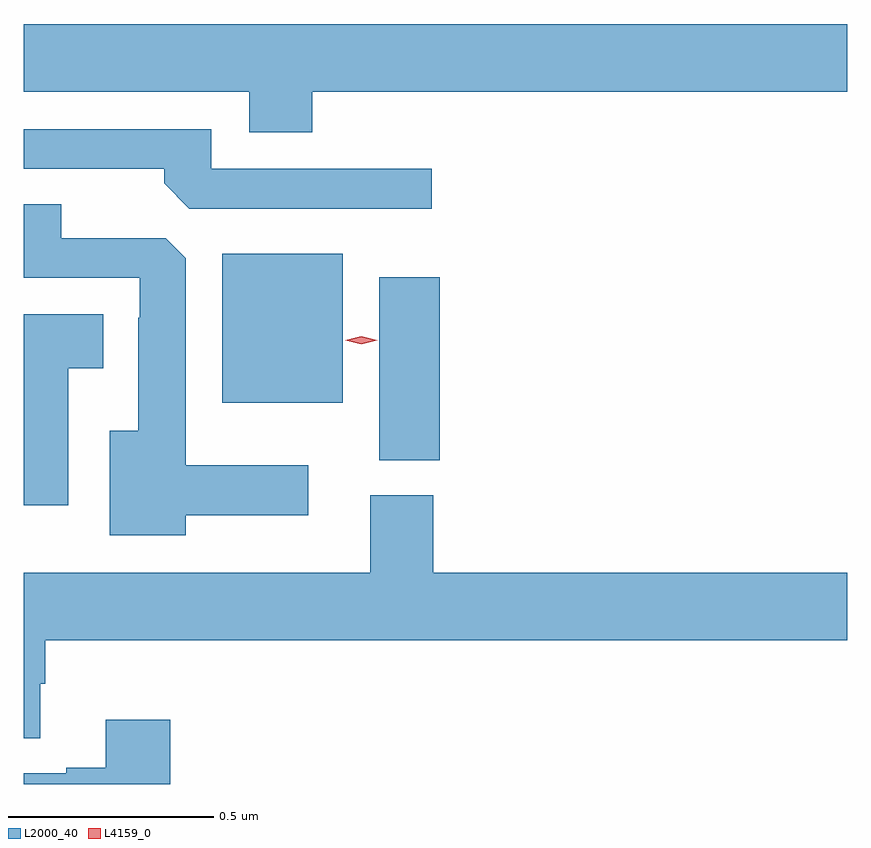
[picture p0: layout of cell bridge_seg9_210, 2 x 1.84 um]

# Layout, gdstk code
import gdstk
lib = gdstk.Library(unit=1e-6, precision=1e-09)
def R(c, l, rs):  # rectangles x0, y0, x1, y1
    for r in rs: c.add(gdstk.rectangle(r[:2], r[2:], *l))
def P(c, l, *ps):  # polygons
    for p in ps: c.add(gdstk.Polygon(p, *l))
L2000_40 = (2000, 40)
L4159_0 = (4159, 0)

bridge_seg9_210 = lib.new_cell('bridge_seg9_210')
R(bridge_seg9_210, L2000_40, [(163.352,1191.529,163.499,1191.973), (162.971,1191.668,163.264,1192.03)])
P(bridge_seg9_210, L2000_40, [(163.19,1192.424),(164.489,1192.424),(164.489,1192.588),(162.489,1192.588),(162.489,1192.424),(163.037,1192.424),(163.037,1192.325),(163.19,1192.325)],
  [(163.48,1192.236),(162.945,1192.236),(162.945,1192.332),(162.489,1192.332),(162.489,1192.236),(162.83,1192.236),(162.83,1192.202),(162.891,1192.14),(163.48,1192.14)],
  [(162.883,1191.395),(163.18,1191.395),(163.18,1191.517),(162.883,1191.517),(162.883,1192.019),(162.834,1192.068),(162.58,1192.068),(162.58,1192.151),(162.489,1192.151),(162.489,1191.972),(162.771,1191.972),(162.771,1191.875),(162.767,1191.875),(162.767,1191.601),(162.698,1191.601),(162.698,1191.347),(162.883,1191.347)],
  [(162.598,1191.752),(162.682,1191.752),(162.682,1191.883),(162.489,1191.883),(162.489,1191.42),(162.598,1191.42)],
  [(162.529,1190.986),(162.542,1190.986),(162.542,1191.092),(164.489,1191.092),(164.489,1191.256),(163.484,1191.256),(163.484,1191.444),(163.331,1191.444),(163.331,1191.256),(162.489,1191.256),(162.489,1190.854),(162.529,1190.854)],
  [(162.845,1190.899),(162.689,1190.899),(162.689,1190.782),(162.593,1190.782),(162.593,1190.769),(162.489,1190.769),(162.489,1190.743),(162.845,1190.743)])
P(bridge_seg9_210, L4159_0, [(163.309,1191.81),(163.27,1191.82),(163.27,1191.82),(163.27,1191.82),(163.309,1191.83),(163.348,1191.82),(163.348,1191.82),(163.348,1191.82)])

lib.write_gds('bridge_seg9_210.gds')
